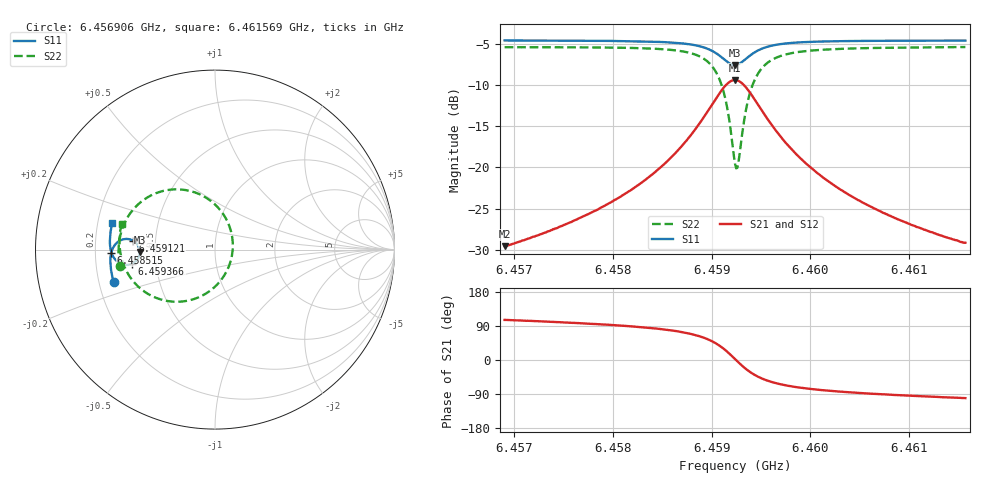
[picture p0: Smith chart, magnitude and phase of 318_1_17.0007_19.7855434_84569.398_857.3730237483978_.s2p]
#  HZ  S  RI  R  50.00
! Rohde & Schwarz Vector Network Analyzer
! Rohde-Schwarz,ZNB20-2Port,1311601062101988,3.16
! Created: UTC 3/20/2024, 11:06:17 PM
! freq[Hz]  re:S11  im:S11  re:S21  im:S21  re:S12  im:S12  re:S22  im:S22
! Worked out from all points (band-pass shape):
!   401 points, 6.456906 GHz to 6.461569 GHz, reference 50 ohm
!   highest |S21| = -9.36 dB at 6.459238 GHz (marker M1); lowest = -29.6 dB at 6.456906 GHz (marker M2)
!   |S21| within 3 dB of the highest: 6.459004 GHz to 6.459471 GHz (466.3 kHz wide, 0.00722 % of centre)
!   lowest |S11| = -7.5 dB at 6.459238 GHz (marker M3), VSWR 2.45, Z = 20.4 - j0.634 ohm
!   |S11| at or under -10 dB: nowhere
!   |S22| runs from -20.1 to -5.3 dB; largest |S21 - S12| = 0.013
!   S11 on the Smith chart (normalised r, x): 6.456906 GHz: 0.26, -0.14; 6.458515 GHz: 0.27, -0.02; 6.459121 GHz: 0.37, +0.05; 6.459366 GHz: 0.37, -0.07; 6.461569 GHz: 0.26, +0.12
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6.4569063e9  -0.5649 -0.1778  -0.00902 0.032  -0.00729 0.0317  -0.531 -0.09
6.4576873e9  -0.5797 -0.1099  -0.00591 0.0496  -0.00347 0.049  -0.5374 0.000151
6.4580953e9  -0.583 -0.0695  -0.000551 0.0675  0.00251 0.0661  -0.5308 0.0631
6.4584683e9  -0.5796 -0.0254  0.0133 0.0973  0.0173 0.0946  -0.5055 0.1445
6.4585149e9  -0.5783 -0.0191  0.0166 0.1028  0.0207 0.0997  -0.4994 0.1575
6.4587248e9  -0.5663 0.0128  0.0422 0.1342  0.0464 0.1294  -0.4516 0.2284
6.4588763e9  -0.5454 0.0394  0.0842 0.1641  0.0876 0.1576  -0.3744 0.292
6.4590278e9  -0.4997 0.059  0.1748 0.1833  0.176 0.1759  -0.2092 0.3357
6.4591211e9  -0.4556 0.0493  0.2637 0.1528  0.264 0.1469  -0.0459 0.2867
6.4591677e9  -0.4345 0.0308  0.3068 0.1107  0.3082 0.1053  0.0356 0.212
6.4592377e9  -0.4197 -0.0128  0.3399 0.0154  0.3433 0.00815  0.0992 0.0357
6.4592493e9  -0.4201 -0.0207  0.3398 -0.00224  0.3434 -0.00987  0.0988 0.00307
6.4592726e9  -0.4234 -0.0362  0.3343 -0.0364  0.3379 -0.0455  0.0881 -0.0614
6.4593309e9  -0.444 -0.067  0.2969 -0.1075  0.2983 -0.1197  0.0126 -0.1944
6.4593659e9  -0.4607 -0.078  0.2652 -0.136  0.2643 -0.149  -0.0513 -0.2455
6.4594591e9  -0.5036 -0.0849  0.1818 -0.1668  0.1757 -0.1782  -0.2164 -0.2907
6.4596107e9  -0.547 -0.0644  0.0954 -0.1538  0.087 -0.1598  -0.3804 -0.2425
6.4597739e9  -0.5684 -0.0368  0.0511 -0.1264  0.0436 -0.1291  -0.4594 -0.172
6.4600187e9  -0.5811 -0.00129  0.0223 -0.0954  0.0165 -0.0961  -0.5067 -0.0907
6.4603684e9  -0.5857 0.0399  0.00651 -0.0692  0.00238 -0.0688  -0.5279 -0.0125
6.4607997e9  -0.5838 0.083  -0.00133 -0.051  -0.00413 -0.0503  -0.532 0.0553
6.461569e9  -0.5716 0.1509  -0.00638 -0.0343  -0.00809 -0.0331  -0.5205 0.1449
